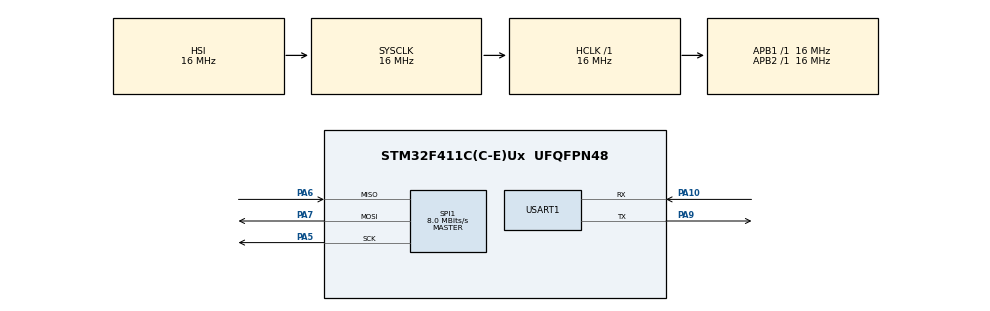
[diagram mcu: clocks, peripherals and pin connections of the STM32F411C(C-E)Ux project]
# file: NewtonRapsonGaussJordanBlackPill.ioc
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Mcu.Family=STM32F4
Mcu.Name=STM32F411C(C-E)Ux
Mcu.Package=UFQFPN48
NVIC.PriorityGroup=NVIC_PRIORITYGROUP_4
PA10.Mode=Asynchronous
PA10.Signal=USART1_RX
PA5.Mode=Full_Duplex_Master
PA5.Signal=SPI1_SCK
PA6.Mode=Full_Duplex_Master
PA6.Signal=SPI1_MISO
PA7.Mode=Full_Duplex_Master
PA7.Signal=SPI1_MOSI
PA9.Mode=Asynchronous
PA9.Signal=USART1_TX
ProjectManager.HeapSize=0x200
ProjectManager.StackSize=0x400
ProjectManager.TargetToolchain=STM32CubeIDE
RCC.AHBFreq_Value=16000000
RCC.APB1Freq_Value=16000000
RCC.APB2Freq_Value=16000000
RCC.CortexFreq_Value=16000000
RCC.HSE_VALUE=25000000
RCC.HSI_VALUE=16000000
RCC.LSE_VALUE=32768
RCC.SYSCLKFreq_VALUE=16000000
RCC.VCOOutputFreq_Value=192000000
SPI1.CalculateBaudRate=8.0 MBits/s
SPI1.Direction=SPI_DIRECTION_2LINES
SPI1.Mode=SPI_MODE_MASTER
SPI1.VirtualType=VM_MASTER
USART1.VirtualMode=VM_ASYNC
board=custom

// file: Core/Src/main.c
/* USER CODE BEGIN Header */
/*
------ Orlando Reyes ------
--------- Auf Das ---------
--- Metodos Numericos V ---
-------- 27/02/2026 --------
Condiciones Generales
• El examen consta de dos partes prácticas.
• El programa debe ejecutarse en un microcontrolador (STM32 u otro equivalente).
• La interacción con el usuario debe realizarse mediante:
o teclado matricial u otro método de entrada,
o pantalla OLED, TFT o LCD.
• No se permite visualizar resultados mediante terminal UART.
• Se debe implementar control de error y convergencia.
• Límite máximo: 50 iteraciones.
• El programa debe solicitar el número de cifras significativas n.
• El criterio de paro será:
es = (0.5 * 10^(2-n))%

Entrada
• Capacitancia 𝐶
• Inductancia 𝐿
• Disipación de carga 𝑞/𝑞0
• Tiempo 𝑡
• Estimación inicial o intervalo (según el método)
• Número de cifras significativas 𝑛

dudas con JP
como supones un valor inicial para el método de Newton-Raphson sin que el usuario lo ingrese? respuesta
*/
/* USER CODE END Header */
#include "main.h"

/* USER CODE BEGIN Includes */
#include "display_ui.h"
#include "fonts.h"
#include "st7735.h"
#include "NewtonRapson.h"
#include "GaussJordan.h"

/* USER CODE END Includes */

/* USER CODE BEGIN PD */
#define MAX_ITER 10
#define NEWTON 1
#define GAUSS 2
/* USER CODE END PD */

SPI_HandleTypeDef hspi1;

UART_HandleTypeDef huart1;

void SystemClock_Config(void);
static void MX_GPIO_Init(void);
static void MX_SPI1_Init(void);
static void MX_USART1_UART_Init(void);

int main(void)
{

  /* MCU Configuration--------------------------------------------------------*/

  /* Reset of all peripherals, Initializes the Flash interface and the Systick. */
  HAL_Init();

  /* Configure the system clock */
  SystemClock_Config();

  /* Initialize all configured peripherals */
  MX_GPIO_Init();
  MX_SPI1_Init();
  MX_USART1_UART_Init();
  /* USER CODE BEGIN 2 */
	ST7735_Init();
	initTheme();  // Initialize color theme

	// Clear UART terminal screen
	HAL_UART_Transmit(&huart1, (uint8_t*)"\033[2J\033[H", 7, 100);  // ANSI clear screen
	HAL_Delay(10);

	  INIT initVals;
	initVals = inputOptions();

  /* USER CODE END 2 */

  /* Infinite loop */
  /* USER CODE BEGIN WHILE */
  RLCFunct INRLC;
  float* INR;
  RESULT NEWRSON = {0.0,0.0,0,0};

  while (1)
  {
    /* USER CODE END WHILE */

    /* USER CODE BEGIN 3 */

    if(initVals.option == NEWTON) {
      INRLC = inputRLC();
      NEWRSON = NewtonRapson((LIMITS){50,initVals.num_presicion}, INRLC,0.5f);
      displayResult(NEWRSON, 0, 20);
    }
    if(initVals.option == GAUSS) {
      INR =inputRVal();
          //(100, 200, 300, 400, 500, 600);
      Resistivo(INR);
    }
  /* USER CODE END 3 */
}

}

void SystemClock_Config(void)
{
  RCC_OscInitTypeDef RCC_OscInitStruct = {0};
  RCC_ClkInitTypeDef RCC_ClkInitStruct = {0};

  /** Configure the main internal regulator output voltage
  */
  __HAL_RCC_PWR_CLK_ENABLE();
  __HAL_PWR_VOLTAGESCALING_CONFIG(PWR_REGULATOR_VOLTAGE_SCALE1);

  /** Initializes the RCC Oscillators according to the specified parameters
  * in the RCC_OscInitTypeDef structure.
  */
  RCC_OscInitStruct.OscillatorType = RCC_OSCILLATORTYPE_HSI;
  RCC_OscInitStruct.HSIState = RCC_HSI_ON;
  RCC_OscInitStruct.HSICalibrationValue = RCC_HSICALIBRATION_DEFAULT;
  RCC_OscInitStruct.PLL.PLLState = RCC_PLL_NONE;
  if (HAL_RCC_OscConfig(&RCC_OscInitStruct) != HAL_OK)
  {
    Error_Handler();
  }

  /** Initializes the CPU, AHB and APB buses clocks
  */
  RCC_ClkInitStruct.ClockType = RCC_CLOCKTYPE_HCLK|RCC_CLOCKTYPE_SYSCLK
                              |RCC_CLOCKTYPE_PCLK1|RCC_CLOCKTYPE_PCLK2;
  RCC_ClkInitStruct.SYSCLKSource = RCC_SYSCLKSOURCE_HSI;
  RCC_ClkInitStruct.AHBCLKDivider = RCC_SYSCLK_DIV1;
  RCC_ClkInitStruct.APB1CLKDivider = RCC_HCLK_DIV1;
  RCC_ClkInitStruct.APB2CLKDivider = RCC_HCLK_DIV1;

  if (HAL_RCC_ClockConfig(&RCC_ClkInitStruct, FLASH_LATENCY_0) != HAL_OK)
  {
    Error_Handler();
  }
}

static void MX_SPI1_Init(void)
{

  /* SPI1 parameter configuration*/
  hspi1.Instance = SPI1;
  hspi1.Init.Mode = SPI_MODE_MASTER;
  hspi1.Init.Direction = SPI_DIRECTION_1LINE;
  hspi1.Init.DataSize = SPI_DATASIZE_8BIT;
  hspi1.Init.CLKPolarity = SPI_POLARITY_LOW;
  hspi1.Init.CLKPhase = SPI_PHASE_1EDGE;
  hspi1.Init.NSS = SPI_NSS_SOFT;
  hspi1.Init.BaudRatePrescaler = SPI_BAUDRATEPRESCALER_2;
  hspi1.Init.FirstBit = SPI_FIRSTBIT_MSB;
  hspi1.Init.TIMode = SPI_TIMODE_DISABLE;
  hspi1.Init.CRCCalculation = SPI_CRCCALCULATION_DISABLE;
  hspi1.Init.CRCPolynomial = 10;
  if (HAL_SPI_Init(&hspi1) != HAL_OK)
  {
    Error_Handler();
  }

}

static void MX_USART1_UART_Init(void)
{

  huart1.Instance = USART1;
  huart1.Init.BaudRate = 9600;
  huart1.Init.WordLength = UART_WORDLENGTH_8B;
  huart1.Init.StopBits = UART_STOPBITS_1;
  huart1.Init.Parity = UART_PARITY_NONE;
  huart1.Init.Mode = UART_MODE_TX_RX;
  huart1.Init.HwFlowCtl = UART_HWCONTROL_NONE;
  huart1.Init.OverSampling = UART_OVERSAMPLING_16;
  if (HAL_UART_Init(&huart1) != HAL_OK)
  {
    Error_Handler();
  }

}

static void MX_GPIO_Init(void)
{
  /* USER CODE BEGIN MX_GPIO_Init_1 */
  GPIO_InitTypeDef GPIO_InitStruct = {0};
__HAL_RCC_GPIOA_CLK_ENABLE();

  /*Configure GPIO pin Output Level */
  HAL_GPIO_WritePin(GPIOA, GPIO_PIN_3, GPIO_PIN_RESET);

  /*Configure GPIO pin Output Level */
  HAL_GPIO_WritePin(GPIOA, GPIO_PIN_4, GPIO_PIN_RESET);

  /*Configure GPIO pin Output Level */
  HAL_GPIO_WritePin(GPIOA, GPIO_PIN_6, GPIO_PIN_RESET);

  /*Configure GPIO pin : PA6 (RES) */
  GPIO_InitStruct.Pin = GPIO_PIN_6;
  GPIO_InitStruct.Mode = GPIO_MODE_OUTPUT_PP;
  GPIO_InitStruct.Pull = GPIO_NOPULL;
  GPIO_InitStruct.Speed = GPIO_SPEED_FREQ_LOW;
  HAL_GPIO_Init(GPIOA, &GPIO_InitStruct);

  /*Configure GPIO pin : PA4 (DC) */
  GPIO_InitStruct.Pin = GPIO_PIN_4;
  GPIO_InitStruct.Mode = GPIO_MODE_OUTPUT_PP;
  GPIO_InitStruct.Pull = GPIO_NOPULL;
  GPIO_InitStruct.Speed = GPIO_SPEED_FREQ_LOW;
  HAL_GPIO_Init(GPIOA, &GPIO_InitStruct);

  /*Configure GPIO pin : PA3 (CS) */
  GPIO_InitStruct.Pin = GPIO_PIN_3;
  GPIO_InitStruct.Mode = GPIO_MODE_OUTPUT_PP;
  GPIO_InitStruct.Pull = GPIO_NOPULL;
  GPIO_InitStruct.Speed = GPIO_SPEED_FREQ_LOW;
  HAL_GPIO_Init(GPIOA, &GPIO_InitStruct);
  /* USER CODE END MX_GPIO_Init_1 */

  /* GPIO Ports Clock Enable */
  __HAL_RCC_GPIOA_CLK_ENABLE();

}

/* USER CODE BEGIN 4 */

void Error_Handler(void)
{
  __disable_irq();
  while (1)
  {
  }
}
